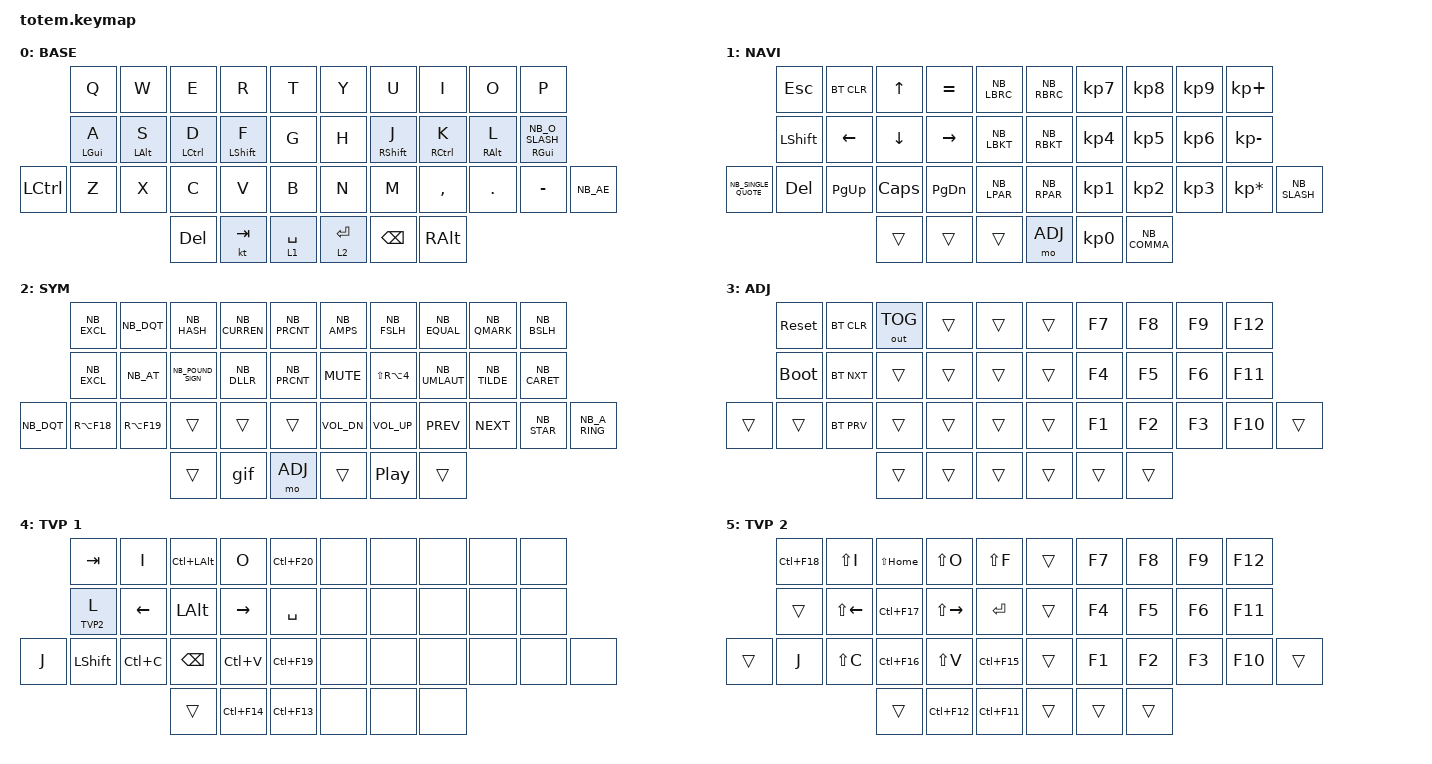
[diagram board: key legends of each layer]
//
//                                                        ▀▀▀▀▀     ▀▀▀▀▀          ▀▀█▀▀
//                                                        ▄▀▀▀▄  ▄  ▄▀▀▀▄  ▄  ▄▀▀▀▄  █  ▄▀▀▀▄
//                                                        █   █  █  █   █  █  █   █  █  █   █
//                                                         ▀▀▀   █   ▀▀▀   █   ▀▀▀   ▀   ▀▀▀
//                                                               █      ▄▄▄█▄▄▄    █   █  
//                                                               ▀      █  █  █     █▄█
//                                                             ▀▀▀▀▀    █  █  █      ▀
//                                                                      ▀  ▀  ▀
//
// ▄▄▄▄▄▄▄▄▄▄▄▄▄▄▄▄▄▄▄▄▄▄▄▄▄▄▄▄▄▄▄▄▄▄▄▄▄▄▄▄▄▄▄▄▄▄▄▄▄▄▄▄▄▄▄▄▄▄▄▄▄▄▄▄▄▄▄▄▄▄▄▄▄▄▄▄▄▄▄▄▄▄▄▄▄▄▄▄▄▄▄▄▄▄▄▄▄▄▄▄▄▄▄▄▄▄▄▄▄▄▄▄▄▄▄▄▄▄▄▄▄▄▄▄▄▄▄▄▄▄▄▄▄▄▄▄▄▄▄▄▄▄▄▄▄▄▄▄▄

#include <behaviors.dtsi>
#include <dt-bindings/zmk/bt.h>
#include <dt-bindings/zmk/keys.h>
#include <dt-bindings/zmk/outputs.h>
#include "keys_nb.h"

#define BASE 0
#define NAV  1
#define SYM  2
#define ADJ  3
#define TVP1 4
#define TVP2 5

&mt {
    quick-tap-ms = <100>;
    global-quick-tap;
    flavor = "tap-preferred";
    tapping-term-ms = <300>;
};

/ {
    combos {
        compatible = "zmk,combos";

        combo_esc {
            timeout-ms = <50>;
            key-positions = <0 1>;
            bindings = <&kp ESC>;
        };

        combo_tvp {
            timeout-ms = <100>;
            key-positions = <11 12 13>;
            bindings = <&tog TVP1>;
        };
    };

    macros {
        gif: gif {
            label = "giphy";
            compatible = "zmk,behavior-macro";
            #binding-cells = <0>;
            bindings =
                <&macro_press>,
                <&kp LSHFT>,
                <&macro_tap>,
                <&kp N2>,
                <&macro_release>,
                <&kp LSHFT>,
                <&macro_tap>,
                <&kp G &kp I &kp F>;
        };
    };

    keymap {
        compatible = "zmk,keymap";

        // ▄▄▄▄▄▄▄▄▄▄▄▄▄▄▄▄▄▄▄▄▄▄▄▄▄▄▄▄▄▄▄▄▄▄▄▄▄▄▄▄▄▄▄▄▄▄▄▄▄▄▄▄▄▄▄▄▄▄▄▄▄▄▄▄▄▄▄▄▄▄▄▄▄▄▄▄▄▄▄▄▄▄▄▄▄▄▄▄▄▄▄▄▄▄▄▄▄▄▄▄▄▄▄▄▄▄▄▄▄▄▄▄▄▄▄▄▄▄▄▄▄▄▄▄▄▄▄▄▄▄▄▄▄▄▄▄▄▄▄▄▄▄▄▄▄▄▄▄▄

        base_layer {
            // ┏━━━━━━━━━━━━━━━━━━━━━━━━━━━━━━━━━━━━━━━┓

            label = "BASE";

            // ┗━━━━━━━━━━━━━━━━━━━━━━━━━━━━━━━━━━━━━━━┛
            //             ┏━━━━━━━━━━━┳━━━━━━━━━━━┳━━━━━━━━━━━┳━━━━━━━━━━━┳━━━━━━━━━━━┓   ┏━━━━━━━━━━━┳━━━━━━━━━━━┳━━━━━━━━━━━┳━━━━━━━━━━━┳━━━━━━━━━━━┓
            //             ┃     Q     ┃     W     ┃     F     ┃     P     ┃     G     ┃   ┃     J     ┃     L     ┃     U     ┃     Y     ┃     ;     ┃
            //             ┣━━━━━━━━━━━╋━━━━━━━━━━━╋━━━━━━━━━━━╋━━━━━━━━━━━╋━━━━━━━━━━━┫   ┣━━━━━━━━━━━╋━━━━━━━━━━━╋━━━━━━━━━━━╋━━━━━━━━━━━╋━━━━━━━━━━━┫
            //             ┃     A     ┃     R     ┃     S     ┃     T     ┃     D     ┃   ┃     H     ┃     N     ┃     E     ┃     I     ┃     O     ┃
            // ┏━━━━━━━━━━━╋━━━━━━━━━━━╋━━━━━━━━━━━╋━━━━━━━━━━━╋━━━━━━━━━━━╋━━━━━━━━━━━┫   ┣━━━━━━━━━━━╋━━━━━━━━━━━╋━━━━━━━━━━━╋━━━━━━━━━━━╋━━━━━━━━━━━╋━━━━━━━━━━━┓
            // ┃     Q     ┃     Z     ┃     X     ┃     C     ┃     V     ┃     B     ┃   ┃     K     ┃     M     ┃     ,     ┃     .     ┃     /     ┃     \     ┃
            // ┗━━━━━━━━━━━┻━━━━━━━━━━━┻━━━━━━━━━━━╋━━━━━━━━━━━╋━━━━━━━━━━━╋━━━━━━━━━━━┫   ┣━━━━━━━━━━━╋━━━━━━━━━━━╋━━━━━━━━━━━╋━━━━━━━━━━━┻━━━━━━━━━━━┻━━━━━━━━━━━┛
            //                                     ┃    DEL    ┃    TAB    ┃    SPC    ┃   ┃   ENTER   ┃           ┃   BSPC    ┃
            //                                     ┗━━━━━━━━━━━┻━━━━━━━━━━━┻━━━━━━━━━━━┛   ┗━━━━━━━━━━━┻━━━━━━━━━━━┻━━━━━━━━━━━┛

            bindings = <
           &kp Q       &kp W       &kp E        &kp R        &kp T          &kp Y        &kp U          &kp I          &kp O       &kp P
           &mt LGUI A  &mt LALT S  &mt LCTRL D  &mt LSHFT F  &kp G          &kp H        &mt RSHFT J    &mt RCTRL K    &mt RALT L  &mt RGUI NB_O_SLASH
&kp LCTRL  &kp Z       &kp X       &kp C        &kp V        &kp B          &kp N        &kp M          &kp COMMA      &kp DOT     &kp MINUS            &kp NB_AE
                                   &kp DEL      &kt TAB      &lt 1 SPACE    &lt 2 ENTER  &kp BACKSPACE  &kp RIGHT_ALT
            >;
        };

        // ▄▄▄▄▄▄▄▄▄▄▄▄▄▄▄▄▄▄▄▄▄▄▄▄▄▄▄▄▄▄▄▄▄▄▄▄▄▄▄▄▄▄▄▄▄▄▄▄▄▄▄▄▄▄▄▄▄▄▄▄▄▄▄▄▄▄▄▄▄▄▄▄▄▄▄▄▄▄▄▄▄▄▄▄▄▄▄▄▄▄▄▄▄▄▄▄▄▄▄▄▄▄▄▄▄▄▄▄▄▄▄▄▄▄▄▄▄▄▄▄▄▄▄▄▄▄▄▄▄▄▄▄▄▄▄▄▄▄▄▄▄▄▄▄▄▄▄▄▄

        nav_layer {
            // ┏━━━━━━━━━━━━━━━━━━━━━━━━━━━━━━━━━━━━━━━┓

            label = "NAVI";

            // ┗━━━━━━━━━━━━━━━━━━━━━━━━━━━━━━━━━━━━━━━┛
            //             ┏━━━━━━━━━━━┳━━━━━━━━━━━┳━━━━━━━━━━━┳━━━━━━━━━━━┳━━━━━━━━━━━┓   ┏━━━━━━━━━━━┳━━━━━━━━━━━┳━━━━━━━━━━━┳━━━━━━━━━━━┳━━━━━━━━━━━┓
            //             ┃           ┃           ┃     UP    ┃           ┃     {     ┃   ┃     }     ┃     7     ┃     8     ┃     9     ┃     +     ┃
            //             ┣━━━━━━━━━━━╋━━━━━━━━━━━╋━━━━━━━━━━━╋━━━━━━━━━━━╋━━━━━━━━━━━┫   ┣━━━━━━━━━━━╋━━━━━━━━━━━╋━━━━━━━━━━━╋━━━━━━━━━━━╋━━━━━━━━━━━┫
            //             ┃   SHIFT   ┃   LEFT    ┃    DOWN   ┃   RIGHT   ┃     [     ┃   ┃     ]     ┃     4     ┃     5     ┃     6     ┃     -     ┃
            // ┏━━━━━━━━━━━╋━━━━━━━━━━━╋━━━━━━━━━━━╋━━━━━━━━━━━╋━━━━━━━━━━━╋━━━━━━━━━━━┫   ┣━━━━━━━━━━━╋━━━━━━━━━━━╋━━━━━━━━━━━╋━━━━━━━━━━━╋━━━━━━━━━━━╋━━━━━━━━━━━┓
            // ┃           ┃           ┃   P UP    ┃  C LOCK   ┃  P DOWN   ┃     (     ┃   ┃     )     ┃     1     ┃     2     ┃     3     ┃     *     ┃           ┃
            // ┗━━━━━━━━━━━┻━━━━━━━━━━━┻━━━━━━━━━━━╋━━━━━━━━━━━╋━━━━━━━━━━━╋━━━━━━━━━━━┫   ┣━━━━━━━━━━━╋━━━━━━━━━━━╋━━━━━━━━━━━╋━━━━━━━━━━━┻━━━━━━━━━━━┻━━━━━━━━━━━┛
            //                                     ┃           ┃    TAB    ┃    SPC    ┃   ┃    DEL    ┃     0     ┃           ┃
            //                                     ┗━━━━━━━━━━━┻━━━━━━━━━━━┻━━━━━━━━━━━┛   ┗━━━━━━━━━━━┻━━━━━━━━━━━┻━━━━━━━━━━━┛

            bindings = <
                     &kp ESC    &bt BT_CLR  &kp UP    &kp EQUAL  &kp NB_LBRC    &kp NB_RBRC  &kp KP_N7  &kp KP_N8     &kp KP_N9  &kp KP_PLUS
                     &kp LSHFT  &kp LEFT    &kp DOWN  &kp RIGHT  &kp NB_LBKT    &kp NB_RBKT  &kp KP_N4  &kp KP_N5     &kp KP_N6  &kp KP_MINUS
&kp NB_SINGLE_QUOTE  &kp DEL    &kp PG_UP   &kp CAPS  &kp PG_DN  &kp NB_LPAR    &kp NB_RPAR  &kp KP_N1  &kp KP_N2     &kp KP_N3  &kp KP_MULTIPLY  &kp NB_SLASH
                                            &trans    &trans     &trans         &mo ADJ      &kp KP_N0  &kp NB_COMMA
            >;
        };

        // ▄▄▄▄▄▄▄▄▄▄▄▄▄▄▄▄▄▄▄▄▄▄▄▄▄▄▄▄▄▄▄▄▄▄▄▄▄▄▄▄▄▄▄▄▄▄▄▄▄▄▄▄▄▄▄▄▄▄▄▄▄▄▄▄▄▄▄▄▄▄▄▄▄▄▄▄▄▄▄▄▄▄▄▄▄▄▄▄▄▄▄▄▄▄▄▄▄▄▄▄▄▄▄▄▄▄▄▄▄▄▄▄▄▄▄▄▄▄▄▄▄▄▄▄▄▄▄▄▄▄▄▄▄▄▄▄▄▄▄▄▄▄▄▄▄▄▄▄▄

        sim_layer {
            // ┏━━━━━━━━━━━━━━━━━━━━━━━━━━━━━━━━━━━━━━━┓

            label = "SYM";

            // ┗━━━━━━━━━━━━━━━━━━━━━━━━━━━━━━━━━━━━━━━┛
            //             ┏━━━━━━━━━━━┳━━━━━━━━━━━┳━━━━━━━━━━━┳━━━━━━━━━━━┳━━━━━━━━━━━┓   ┏━━━━━━━━━━━┳━━━━━━━━━━━┳━━━━━━━━━━━┳━━━━━━━━━━━┳━━━━━━━━━━━┓
            //             ┃     !     ┃     @     ┃     #     ┃     $     ┃     %     ┃   ┃     ˆ     ┃     &     ┃     Ü     ┃     '     ┃     "     ┃
            //             ┣━━━━━━━━━━━╋━━━━━━━━━━━╋━━━━━━━━━━━╋━━━━━━━━━━━╋━━━━━━━━━━━┫   ┣━━━━━━━━━━━╋━━━━━━━━━━━╋━━━━━━━━━━━╋━━━━━━━━━━━╋━━━━━━━━━━━┫
            //             ┃     Ä     ┃           ┃    SZ     ┃           ┃           ┃   ┃   MUTE    ┃   YEN     ┃   EURO    ┃  POUND    ┃     Ö     ┃
            // ┏━━━━━━━━━━━╋━━━━━━━━━━━╋━━━━━━━━━━━╋━━━━━━━━━━━╋━━━━━━━━━━━╋━━━━━━━━━━━┫   ┣━━━━━━━━━━━╋━━━━━━━━━━━╋━━━━━━━━━━━╋━━━━━━━━━━━╋━━━━━━━━━━━╋━━━━━━━━━━━┓
            // ┃           ┃  EMAIL1   ┃  EMAIL2   ┃           ┃           ┃           ┃   ┃   VOL-    ┃   VOL+    ┃   LAST    ┃   NEXT    ┃     \     ┃           ┃
            // ┗━━━━━━━━━━━┻━━━━━━━━━━━┻━━━━━━━━━━━╋━━━━━━━━━━━╋━━━━━━━━━━━╋━━━━━━━━━━━┫   ┣━━━━━━━━━━━╋━━━━━━━━━━━╋━━━━━━━━━━━╋━━━━━━━━━━━┻━━━━━━━━━━━┻━━━━━━━━━━━┛
            //                                     ┃           ┃    GIF    ┃    ADJ    ┃   ┃           ┃           ┃           ┃
            //                                     ┗━━━━━━━━━━━┻━━━━━━━━━━━┻━━━━━━━━━━━┛   ┗━━━━━━━━━━━┻━━━━━━━━━━━┻━━━━━━━━━━━┛

            bindings = <
            &kp NB_EXCL  &kp NB_DQT   &kp NB_HASH        &kp NB_CURREN  &kp NB_PRCNT    &kp NB_AMPS   &kp NB_FSLH     &kp NB_EQUAL   &kp NB_QMARK  &kp NB_BSLH
            &kp NB_EXCL  &kp NB_AT    &kp NB_POUND_SIGN  &kp NB_DLLR    &kp NB_PRCNT    &kp C_MUTE    &kp LS(RA(N4))  &kp NB_UMLAUT  &kp NB_TILDE  &kp NB_CARET
&kp NB_DQT  &kp RA(F18)  &kp RA(F19)  &trans             &trans         &trans          &kp C_VOL_DN  &kp C_VOL_UP    &kp C_PREV     &kp C_NEXT    &kp NB_STAR   &kp NB_A_RING
                                      &trans             &gif           &mo ADJ         &trans        &kp C_PP        &trans
            >;
        };

        // ▄▄▄▄▄▄▄▄▄▄▄▄▄▄▄▄▄▄▄▄▄▄▄▄▄▄▄▄▄▄▄▄▄▄▄▄▄▄▄▄▄▄▄▄▄▄▄▄▄▄▄▄▄▄▄▄▄▄▄▄▄▄▄▄▄▄▄▄▄▄▄▄▄▄▄▄▄▄▄▄▄▄▄▄▄▄▄▄▄▄▄▄▄▄▄▄▄▄▄▄▄▄▄▄▄▄▄▄▄▄▄▄▄▄▄▄▄▄▄▄▄▄▄▄▄▄▄▄▄▄▄▄▄▄▄▄▄▄▄▄▄▄▄▄▄▄▄▄▄

        adjust_layer {
            // ┏━━━━━━━━━━━━━━━━━━━━━━━━━━━━━━━━━━━━━━━┓

            label = "ADJ";

            // ┗━━━━━━━━━━━━━━━━━━━━━━━━━━━━━━━━━━━━━━━┛
            //             ┏━━━━━━━━━━━┳━━━━━━━━━━━┳━━━━━━━━━━━┳━━━━━━━━━━━┳━━━━━━━━━━━┓   ┏━━━━━━━━━━━┳━━━━━━━━━━━┳━━━━━━━━━━━┳━━━━━━━━━━━┳━━━━━━━━━━━┓
            //             ┃   RESET   ┃ BT CLEAR  ┃  OUT TOG  ┃           ┃           ┃   ┃           ┃    F7     ┃    F8     ┃    F9     ┃    F12    ┃
            //             ┣━━━━━━━━━━━╋━━━━━━━━━━━╋━━━━━━━━━━━╋━━━━━━━━━━━╋━━━━━━━━━━━┫   ┣━━━━━━━━━━━╋━━━━━━━━━━━╋━━━━━━━━━━━╋━━━━━━━━━━━╋━━━━━━━━━━━┫
            //             ┃ BOOTLOAD  ┃ BT NEXT   ┃           ┃           ┃           ┃   ┃           ┃    F4     ┃    F5     ┃    F6     ┃    F11    ┃
            // ┏━━━━━━━━━━━╋━━━━━━━━━━━╋━━━━━━━━━━━╋━━━━━━━━━━━╋━━━━━━━━━━━╋━━━━━━━━━━━┫   ┣━━━━━━━━━━━╋━━━━━━━━━━━╋━━━━━━━━━━━╋━━━━━━━━━━━╋━━━━━━━━━━━╋━━━━━━━━━━━┓
            // ┃           ┃           ┃ BT PREV   ┃           ┃           ┃           ┃   ┃           ┃    F1     ┃    F2     ┃    F3     ┃    F10    ┃           ┃
            // ┗━━━━━━━━━━━┻━━━━━━━━━━━┻━━━━━━━━━━━╋━━━━━━━━━━━╋━━━━━━━━━━━╋━━━━━━━━━━━┫   ┣━━━━━━━━━━━╋━━━━━━━━━━━╋━━━━━━━━━━━╋━━━━━━━━━━━┻━━━━━━━━━━━┻━━━━━━━━━━━┛
            //                                     ┃           ┃           ┃           ┃   ┃           ┃           ┃           ┃
            //                                     ┗━━━━━━━━━━━┻━━━━━━━━━━━┻━━━━━━━━━━━┛   ┗━━━━━━━━━━━┻━━━━━━━━━━━┻━━━━━━━━━━━┛

            bindings = <
        &sys_reset   &bt BT_CLR  &out OUT_TOG  &trans  &trans    &trans  &kp F7  &kp F8  &kp F9  &kp F12
        &bootloader  &bt BT_NXT  &trans        &trans  &trans    &trans  &kp F4  &kp F5  &kp F6  &kp F11
&trans  &trans       &bt BT_PRV  &trans        &trans  &trans    &trans  &kp F1  &kp F2  &kp F3  &kp F10  &trans
                                 &trans        &trans  &trans    &trans  &trans  &trans
            >;
        };

        // ▄▄▄▄▄▄▄▄▄▄▄▄▄▄▄▄▄▄▄▄▄▄▄▄▄▄▄▄▄▄▄▄▄▄▄▄▄▄▄▄▄▄▄▄▄▄▄▄▄▄▄▄▄▄▄▄▄▄▄▄▄▄▄▄▄▄▄▄▄▄▄▄▄▄▄▄▄▄▄▄▄▄▄▄▄▄▄▄▄▄▄▄▄▄▄▄▄▄▄▄▄▄▄▄▄▄▄▄▄▄▄▄▄▄▄▄▄▄▄▄▄▄▄▄▄▄▄▄▄▄▄▄▄▄▄▄▄▄▄▄▄▄▄▄▄▄▄▄▄

        tvp1_layer {
            // ┏━━━━━━━━━━━━━━━━━━━━━━━━━━━━━━━━━━━━━━━┓

            label = "TVP 1";

            // ┗━━━━━━━━━━━━━━━━━━━━━━━━━━━━━━━━━━━━━━━┛
            //             ┏━━━━━━━━━━━┳━━━━━━━━━━━┳━━━━━━━━━━━┳━━━━━━━━━━━┳━━━━━━━━━━━┓   ┏━━━━━━━━━━━┳━━━━━━━━━━━┳━━━━━━━━━━━┳━━━━━━━━━━━┳━━━━━━━━━━━┓
            //             ┃ NEXT FILE ┃ MARK IN   ┃ ROTATE    ┃ MARK OUT  ┃ SHOW SNAP ┃   ┃           ┃           ┃           ┃           ┃           ┃
            //             ┣━━━━━━━━━━━╋━━━━━━━━━━━╋━━━━━━━━━━━╋━━━━━━━━━━━╋━━━━━━━━━━━┫   ┣━━━━━━━━━━━╋━━━━━━━━━━━╋━━━━━━━━━━━╋━━━━━━━━━━━╋━━━━━━━━━━━┫
            //             ┃ TVP II    ┃ LEFT      ┃ PAN       ┃ RIGHT     ┃ PLAY/FLIP ┃   ┃           ┃           ┃           ┃           ┃           ┃
            // ┏━━━━━━━━━━━╋━━━━━━━━━━━╋━━━━━━━━━━━╋━━━━━━━━━━━╋━━━━━━━━━━━╋━━━━━━━━━━━┫   ┣━━━━━━━━━━━╋━━━━━━━━━━━╋━━━━━━━━━━━╋━━━━━━━━━━━╋━━━━━━━━━━━╋━━━━━━━━━━━┓
            // ┃ FULLSCR   ┃ SHIFT     ┃ COPY      ┃ DELETE    ┃ PASTE     ┃ IMG MARK  ┃   ┃           ┃           ┃           ┃           ┃           ┃           ┃
            // ┗━━━━━━━━━━━┻━━━━━━━━━━━┻━━━━━━━━━━━╋━━━━━━━━━━━╋━━━━━━━━━━━╋━━━━━━━━━━━┫   ┣━━━━━━━━━━━╋━━━━━━━━━━━╋━━━━━━━━━━━╋━━━━━━━━━━━┻━━━━━━━━━━━┻━━━━━━━━━━━┛
            //                                     ┃           ┃ UNDO/SAVE ┃  SEL/MOV  ┃   ┃           ┃           ┃           ┃
            //                                     ┗━━━━━━━━━━━┻━━━━━━━━━━━┻━━━━━━━━━━━┛   ┗━━━━━━━━━━━┻━━━━━━━━━━━┻━━━━━━━━━━━┛

            bindings = <
       &kp TAB     &kp I      &kp LC(LALT)  &kp O        &kp LC(F20)    &none  &none  &none  &none  &none
       &lt TVP2 L  &kp LEFT   &kp LALT      &kp RIGHT    &kp SPACE      &none  &none  &none  &none  &none
&kp J  &kp LSHFT   &kp LC(C)  &kp BSPC      &kp LC(V)    &kp LC(F19)    &none  &none  &none  &none  &none  &none
                              &trans        &kp LC(F14)  &kp LC(F13)    &none  &none  &none
            >;
        };

        // ▄▄▄▄▄▄▄▄▄▄▄▄▄▄▄▄▄▄▄▄▄▄▄▄▄▄▄▄▄▄▄▄▄▄▄▄▄▄▄▄▄▄▄▄▄▄▄▄▄▄▄▄▄▄▄▄▄▄▄▄▄▄▄▄▄▄▄▄▄▄▄▄▄▄▄▄▄▄▄▄▄▄▄▄▄▄▄▄▄▄▄▄▄▄▄▄▄▄▄▄▄▄▄▄▄▄▄▄▄▄▄▄▄▄▄▄▄▄▄▄▄▄▄▄▄▄▄▄▄▄▄▄▄▄▄▄▄▄▄▄▄▄▄▄▄▄▄▄▄

        tvp2_layer {
            // ┏━━━━━━━━━━━━━━━━━━━━━━━━━━━━━━━━━━━━━━━┓

            label = "TVP 2";

            // ┗━━━━━━━━━━━━━━━━━━━━━━━━━━━━━━━━━━━━━━━┛
            //             ┏━━━━━━━━━━━┳━━━━━━━━━━━┳━━━━━━━━━━━┳━━━━━━━━━━━┳━━━━━━━━━━━┓   ┏━━━━━━━━━━━┳━━━━━━━━━━━┳━━━━━━━━━━━┳━━━━━━━━━━━┳━━━━━━━━━━━┓
            //             ┃ SOLO      ┃ TOGGLE IN ┃ RESET ROT ┃ TOGGLE OUT┃ TAKE SNAP ┃   ┃           ┃           ┃           ┃           ┃           ┃
            //             ┣━━━━━━━━━━━╋━━━━━━━━━━━╋━━━━━━━━━━━╋━━━━━━━━━━━╋━━━━━━━━━━━┫   ┣━━━━━━━━━━━╋━━━━━━━━━━━╋━━━━━━━━━━━╋━━━━━━━━━━━╋━━━━━━━━━━━┫
            //             ┃ ---       ┃ LAST KEY  ┃ NEW KEY   ┃ NEXT KEY  ┃ ENTER     ┃   ┃           ┃           ┃           ┃           ┃           ┃
            // ┏━━━━━━━━━━━╋━━━━━━━━━━━╋━━━━━━━━━━━╋━━━━━━━━━━━╋━━━━━━━━━━━╋━━━━━━━━━━━┫   ┣━━━━━━━━━━━╋━━━━━━━━━━━╋━━━━━━━━━━━╋━━━━━━━━━━━╋━━━━━━━━━━━╋━━━━━━━━━━━┓
            // ┃           ┃ FULLSCR   ┃ CPY2BRUSH ┃ DEL HEAD  ┃ PSTinPLACE┃ BOOK MARK ┃   ┃           ┃           ┃           ┃           ┃           ┃           ┃
            // ┗━━━━━━━━━━━┻━━━━━━━━━━━┻━━━━━━━━━━━╋━━━━━━━━━━━╋━━━━━━━━━━━╋━━━━━━━━━━━┫   ┣━━━━━━━━━━━╋━━━━━━━━━━━╋━━━━━━━━━━━╋━━━━━━━━━━━┻━━━━━━━━━━━┻━━━━━━━━━━━┛
            //                                     ┃           ┃ REDO/SAV1 ┃TRANS/WARP ┃   ┃           ┃           ┃           ┃
            //                                     ┗━━━━━━━━━━━┻━━━━━━━━━━━┻━━━━━━━━━━━┛   ┗━━━━━━━━━━━┻━━━━━━━━━━━┻━━━━━━━━━━━┛

            bindings = <
        &kp LC(F18)  &kp LS(I)     &kp LS(HOME)  &kp LS(O)      &kp LS(F)      &trans  &kp F7  &kp F8  &kp F9  &kp F12
        &trans       &kp LS(LEFT)  &kp LC(F17)   &kp LS(RIGHT)  &kp RET        &trans  &kp F4  &kp F5  &kp F6  &kp F11
&trans  &kp J        &kp LS(C)     &kp LC(F16)   &kp LS(V)      &kp LC(F15)    &trans  &kp F1  &kp F2  &kp F3  &kp F10  &trans
                                   &trans        &kp LC(F12)    &kp LC(F11)    &trans  &trans  &trans
            >;
        };
    };
};
